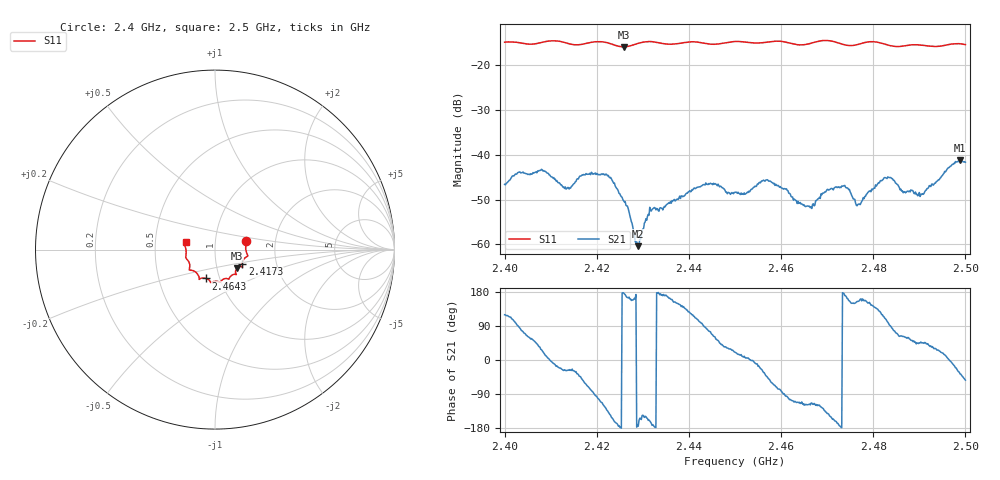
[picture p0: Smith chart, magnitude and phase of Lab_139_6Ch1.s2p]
# Hz S RI R 50
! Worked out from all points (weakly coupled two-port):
!   601 points, 2.4 GHz to 2.5 GHz, reference 50 ohm
!   highest |S21| = -41.27 dB at 2.4988 GHz (marker M1); lowest = -60.4 dB at 2.429 GHz (marker M2)
!   lowest |S11| = -15.9 dB at 2.4258 GHz (marker M3), VSWR 1.38, Z = 62.3 - j13.3 ohm
!   |S11| at or under -10 dB: start of sweep to end of sweep
!   S12 and S22 are empty: the file has one direction only
!   S11 on the Smith chart (normalised r, x): 2.4 GHz: 1.41, +0.14; 2.4173 GHz: 1.34, -0.23; 2.4643 GHz: 0.86, -0.28; 2.5 GHz: 0.72, +0.06
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2.4e9  0.1733 0.0487  -0.0023 0.00408  0 0  0 0
2.408e9  0.1776 -0.0214  0.00612 0.00315  0 0  0 0
2.413833e9  0.1677 -0.0459  0.00386 -0.00191  0 0  0 0
2.416667e9  0.1529 -0.0745  0.00387 -0.00438  0 0  0 0
2.417333e9  0.1521 -0.082  0.00298 -0.00518  0 0  0 0
2.4225e9  0.1487 -0.0949  -0.00435 -0.00398  0 0  0 0
2.425833e9  0.1216 -0.1037  -0.00306 0.000162  0 0  0 0
2.429e9  0.1154 -0.1312  -0.000953 -8.72e-05  0 0  0 0
2.4315e9  0.1189 -0.1391  -0.00245 -0.000856  0 0  0 0
2.433333e9  0.1127 -0.1376  -0.00239 7.83e-05  0 0  0 0
2.4435e9  0.0664 -0.161  0.000265 0.00459  0 0  0 0
2.45e9  0.0288 -0.1811  0.00356 0.00134  0 0  0 0
2.457167e9  -0.0151 -0.1806  0.00348 -0.00385  0 0  0 0
2.464333e9  -0.0498 -0.1604  -0.00114 -0.00258  0 0  0 0
2.466667e9  -0.0759 -0.1591  -0.001 -0.00231  0 0  0 0
2.473333e9  -0.0928 -0.1433  -0.00447 0.000191  0 0  0 0
2.476833e9  -0.1249 -0.1163  -0.00256 0.00118  0 0  0 0
2.483333e9  -0.1402 -0.0895  -0.000627 0.00556  0 0  0 0
2.486667e9  -0.1529 -0.0581  0.00182 0.00339  0 0  0 0
2.490667e9  -0.1623 -0.037  0.00258 0.00262  0 0  0 0
2.498833e9  -0.1694 0.0363  0.00693 -0.00516  0 0  0 0
2.5e9  -0.1638 0.0425  0.00497 -0.0066  0 0  0 0
